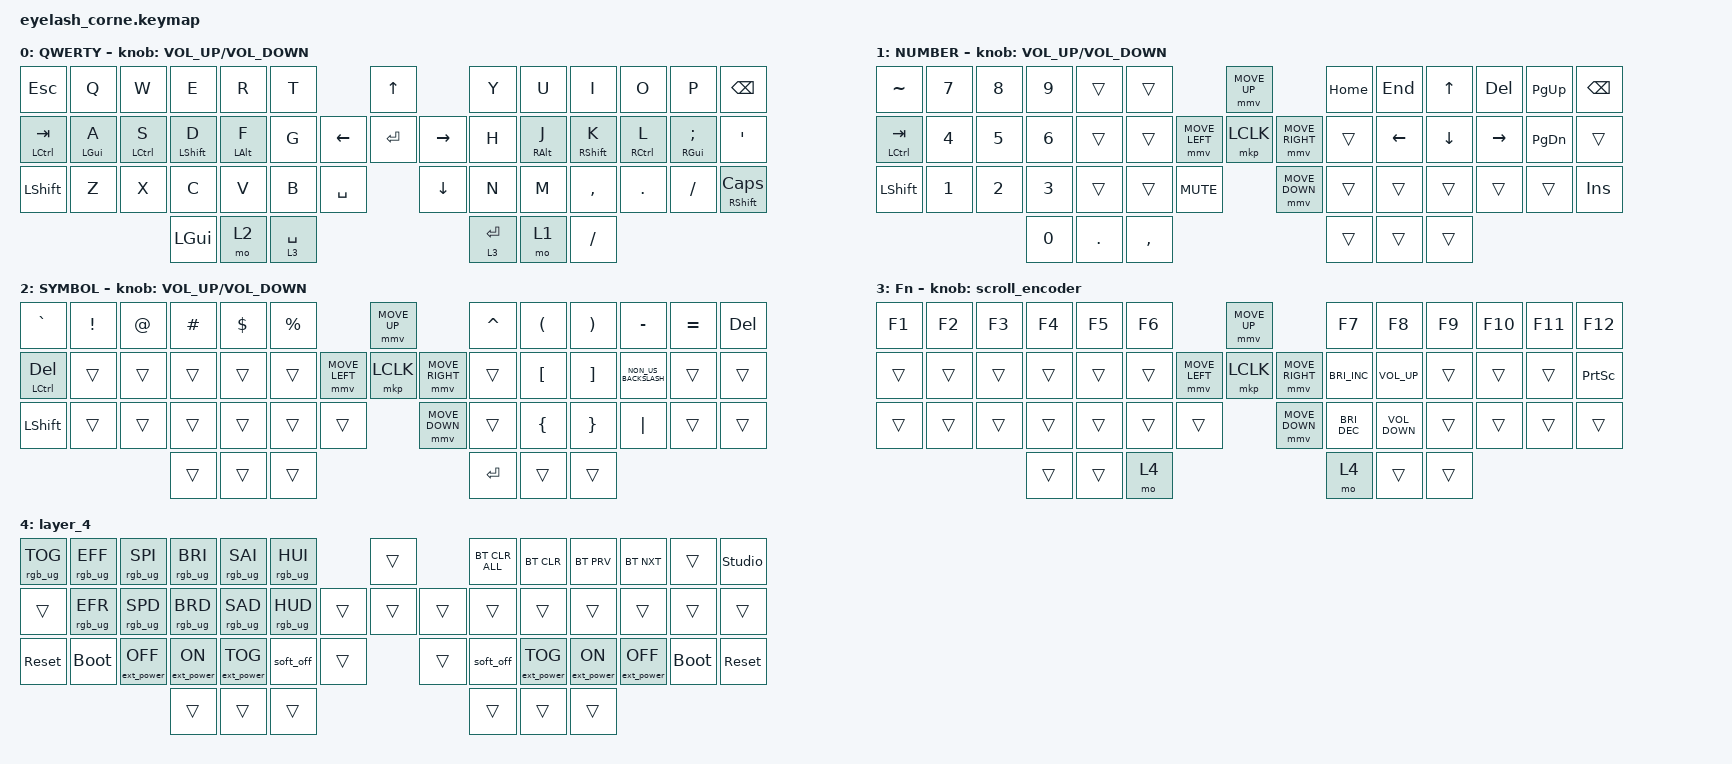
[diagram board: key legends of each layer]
#define ZMK_POINTING_DEFAULT_MOVE_VAL 1200  // 600
#define ZMK_POINTING_DEFAULT_SCRL_VAL 80 // 10

#include <input/processors.dtsi>
#include <zephyr/dt-bindings/input/input-event-codes.h>
#include <behaviors.dtsi>
#include <dt-bindings/zmk/bt.h>
#include <dt-bindings/zmk/ext_power.h>
#include <dt-bindings/zmk/keys.h>
#include <dt-bindings/zmk/pointing.h>
#include <dt-bindings/zmk/rgb.h>

&mmv_input_listener { input-processors = <&zip_xy_scaler 2 1>; };

&msc_input_listener { input-processors = <&zip_scroll_scaler 2 1>; };

&msc {
    acceleration-exponent = <1>;      // 0
    time-to-max-speed-ms = <100>;       // 300
    delay-ms = <0>;                   // 0
};

&mmv {
    time-to-max-speed-ms = <500>;
    acceleration-exponent = <1>;
    trigger-period-ms = <16>;
};

/ {
    behaviors {
        home_row: home_row {
            compatible = "zmk,behavior-hold-tap";
            label = "HOME_ROW";
            bindings = <&kp>, <&kp>;

            #binding-cells = <2>;
            tapping-term-ms = <200>;
            flavor = "tap-preferred";
        };
    };

    rgb_encoder: rgb_encoder {
        compatible = "zmk,behavior-sensor-rotate";
        #sensor-binding-cells = <0>;
        bindings = <&rgb_ug RGB_BRI>, <&rgb_ug RGB_BRD>;
    };

    scroll_encoder: scroll_encoder {
        compatible = "zmk,behavior-sensor-rotate";
        #sensor-binding-cells = <0>;
        bindings = <&msc SCRL_DOWN>, <&msc SCRL_UP>;

        tap-ms = <100>;
    };

    combos {
        compatible = "zmk,combos";

        delc {
            bindings = <&kp DEL>;
            key-positions = <11 12>;
            timeout-ms = <30>;
        };

        LEFT_CIRCLE {
            bindings = <&kp LS(LEFT_PARENTHESIS)>;
            key-positions = <3 4>;
            timeout-ms = <30>;
        };

        RIGHT_CIRCLE {
            bindings = <&kp LS(RIGHT_PARENTHESIS)>;
            key-positions = <8 9>;
            timeout-ms = <30>;
        };

        LEFT_SQUARE {
            bindings = <&kp LEFT_BRACKET>;
            key-positions = <17 16>;
            timeout-ms = <30>;
        };

        RIGHT_SQUARE {
            bindings = <&kp RIGHT_BRACKET>;
            key-positions = <23 24>;
            timeout-ms = <30>;
        };

        LEFT_SQUIGGLY {
            bindings = <&kp LEFT_BRACE>;
            key-positions = <32 31>;
            timeout-ms = <30>;
        };

        RIGHT_SQUIGGLY {
            bindings = <&kp RIGHT_BRACE>;
            key-positions = <37 38>;
            timeout-ms = <30>;
        };

        KEY_MINUS {
            bindings = <&kp MINUS>;
            key-positions = <3 9>;
            timeout-ms = <30>;
        };

        KEY_UNDERSCORE {
            bindings = <&kp UNDERSCORE>;
            key-positions = <16 24>;
            timeout-ms = <30>;
        };

        KEY_EQUAL {
            bindings = <&kp EQUAL>;
            key-positions = <4 8>;
            timeout-ms = <30>;
        };

        KEY_PLUS {
            bindings = <&kp PLUS>;
            key-positions = <23 17>;
            timeout-ms = <30>;
        };
    };

    keymap {
        compatible = "zmk,keymap";

        default_layer {
            display-name = "QWERTY";
            bindings = <
&kp ESC         &kp Q             &kp W              &kp E                   &kp R                 &kp T                               &kp UP                &kp Y        &kp U                  &kp I                    &kp O              &kp P                          &kp BSPC
&mt LCTRL TAB   &home_row LGUI A  &home_row LCTRL S  &home_row LEFT_SHIFT D  &home_row LEFT_ALT F  &kp G                     &kp LEFT  &kp ENTER  &kp RIGHT  &kp H        &home_row RIGHT_ALT J  &home_row RIGHT_SHIFT K  &home_row RCTRL L  &home_row RIGHT_GUI SEMICOLON  &kp SINGLE_QUOTE
&kp LEFT_SHIFT  &kp Z             &kp X              &kp C                   &kp V                 &kp B        &kp SPACE              &kp DOWN              &kp N        &kp M                  &kp COMMA                &kp DOT            &kp FSLH                       &mt RIGHT_SHIFT CAPSLOCK
                                                     &kp LGUI                &mo 2                 &lt 3 SPACE                                               &lt 3 ENTER  &mo 1                  &kp SLASH
            >;

            sensor-bindings = <&inc_dec_kp C_VOLUME_UP C_VOLUME_DOWN>;
        };

        lower_layer {
            display-name = "NUMBER";
            bindings = <
&kp TILDE       &kp N7        &kp N8        &kp N9        &trans      &trans                                   &mmv MOVE_UP                     &kp HOME  &kp END   &kp UP    &kp DEL    &kp PG_UP  &kp BACKSPACE
&mt LCTRL TAB   &kp NUMBER_4  &kp N5        &kp NUMBER_6  &trans      &trans                   &mmv MOVE_LEFT  &mkp LCLK       &mmv MOVE_RIGHT  &trans    &kp LEFT  &kp DOWN  &kp RIGHT  &kp PG_DN  &trans
&kp LEFT_SHIFT  &kp NUMBER_1  &kp NUMBER_2  &kp NUMBER_3  &trans      &trans     &kp C_MUTE                    &mmv MOVE_DOWN                   &trans    &trans    &trans    &trans     &trans     &kp INS
                                            &kp NUMBER_0  &kp PERIOD  &kp COMMA                                                                 &trans    &trans    &trans
            >;

            sensor-bindings = <&inc_dec_kp C_VOLUME_UP K_VOLUME_DOWN>;
        };

        raise_layer {
            display-name = "SYMBOL";
            bindings = <
&kp GRAVE         &kp EXCL  &kp AT  &kp HASH  &kp DLLR  &kp PRCNT                            &mmv MOVE_UP                     &kp CARET  &kp LEFT_PARENTHESIS  &kp RIGHT_PARENTHESIS  &kp MINUS             &kp EQUAL  &kp DELETE
&mt LCTRL DELETE  &trans    &trans  &trans    &trans    &trans               &mmv MOVE_LEFT  &mkp LCLK       &mmv MOVE_RIGHT  &trans     &kp LEFT_BRACKET      &kp RIGHT_BRACKET      &kp NON_US_BACKSLASH  &trans     &trans
&kp LEFT_SHIFT    &trans    &trans  &trans    &trans    &trans     &trans                    &mmv MOVE_DOWN                   &trans     &kp LEFT_BRACE        &kp RIGHT_BRACE        &kp PIPE              &trans     &trans
                                    &trans    &trans    &trans                                                                &kp RET    &trans                &trans
            >;

            sensor-bindings = <&inc_dec_kp C_VOLUME_UP K_VOLUME_DOWN>;
        };

        layer_3 {
            display-name = "Fn";
            bindings = <
&kp F1  &kp F2  &kp F3  &kp F4  &kp F5  &kp F6                            &mmv MOVE_UP                     &kp F7                &kp F8             &kp F9  &kp F10  &kp F11  &kp F12
&trans  &trans  &trans  &trans  &trans  &trans            &mmv MOVE_LEFT  &mkp LCLK       &mmv MOVE_RIGHT  &kp C_BRIGHTNESS_INC  &kp C_VOLUME_UP    &trans  &trans   &trans   &kp PSCRN
&trans  &trans  &trans  &trans  &trans  &trans  &trans                    &mmv MOVE_DOWN                   &kp C_BRI_DEC         &kp C_VOLUME_DOWN  &trans  &trans   &trans   &trans
                        &trans  &trans  &mo 4                                                              &mo 4                 &trans             &trans
            >;

            sensor-bindings = <&scroll_encoder>;
        };

        layer_4 {
            bindings = <
&rgb_ug RGB_TOG  &rgb_ug RGB_EFF  &rgb_ug RGB_SPI    &rgb_ug RGB_BRI   &rgb_ug RGB_SAI    &rgb_ug RGB_HUI                    &trans          &bt BT_CLR_ALL  &bt BT_CLR         &bt BT_PRV        &bt BT_NXT         &trans       &studio_unlock
&trans           &rgb_ug RGB_EFR  &rgb_ug RGB_SPD    &rgb_ug RGB_BRD   &rgb_ug RGB_SAD    &rgb_ug RGB_HUD            &trans  &trans  &trans  &trans          &trans             &trans            &trans             &trans       &trans
&sys_reset       &bootloader      &ext_power EP_OFF  &ext_power EP_ON  &ext_power EP_TOG  &soft_off        &trans            &trans          &soft_off       &ext_power EP_TOG  &ext_power EP_ON  &ext_power EP_OFF  &bootloader  &sys_reset
                                                     &trans            &trans             &trans                                             &trans          &trans             &trans
            >;
        };
    };
};
